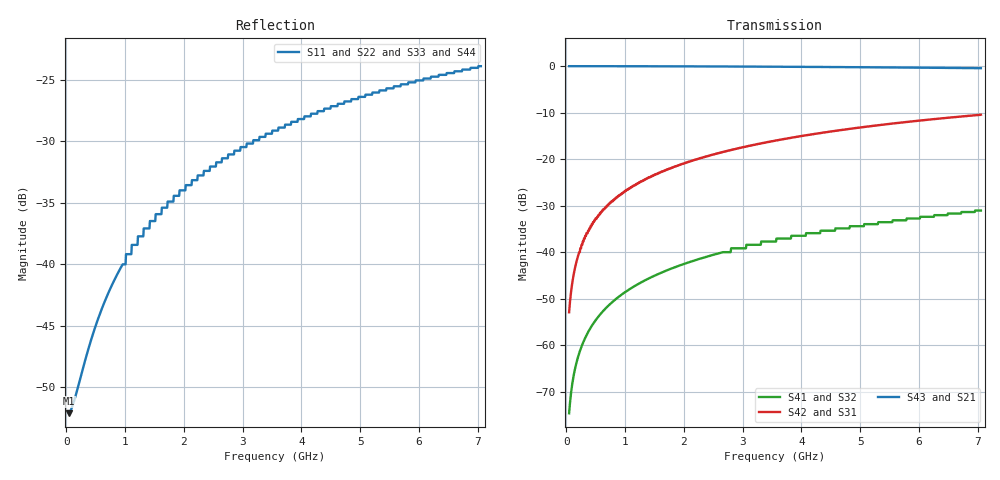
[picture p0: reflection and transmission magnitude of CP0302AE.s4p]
# MHZ S MA R 50
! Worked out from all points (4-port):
!   1000 points, 50 MHz to 7.05 GHz, reference 50 ohm
!   strongest paths, dB at 50 MHz, 1.802 GHz, 3.554 GHz, 5.305 GHz, 7.05 GHz:
!     S43: 0.0, -0.1, -0.1, -0.3, -0.5
!     S21: 0.0, -0.1, -0.1, -0.3, -0.5
!     S42: -52.9, -21.8, -16.0, -12.7, -10.5
!     S31: -52.9, -21.8, -16.0, -12.7, -10.5
!     S41: -74.6, -43.5, -37.7, -33.6, -31.1
!     S32: -74.6, -43.5, -37.7, -33.6, -31.1
!   lowest |S11| = -52.1 dB at 50 MHz (marker M1), VSWR 1.00, Z = 50.2 + j0.0501 ohm
!   |S11| at or under -10 dB: start of sweep to end of sweep
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50  0.002477 11.6  0.998 -0.1  0.002259 89.8  0.0001852 -90.4
    0.998 -0.1  0.002477 11.6  0.0001852 -90.4  0.002259 89.8
    0.002259 89.8  0.0001852 -90.4  0.002477 11.6  0.998 -0.1
    0.0001852 -90.4  0.002259 89.8  0.998 -0.1  0.002477 11.6
204.154  0.003186 39.7  0.998 -0.6  0.009222 89.4  0.0007562 -92.0
         0.998 -0.6  0.003186 39.7  0.0007562 -92.0  0.009222 89.4
         0.009222 89.4  0.0007562 -92.0  0.003186 39.7  0.998 -0.6
         0.0007562 -92.0  0.009222 89.4  0.998 -0.6  0.003186 39.7
470.42  0.005344 61.2  0.997 -1.4  0.021 88.6  0.001743 -94.7
        0.997 -1.4  0.005344 61.2  0.001743 -94.7  0.021 88.6
        0.021 88.6  0.001743 -94.7  0.005344 61.2  0.997 -1.4
        0.001743 -94.7  0.021 88.6  0.997 -1.4  0.005344 61.2
883.834  0.00926 71.4  0.997 -2.6  0.04 87.3  0.003278 -98.8
         0.997 -2.6  0.00926 71.4  0.003278 -98.8  0.04 87.3
         0.04 87.3  0.003278 -98.8  0.00926 71.4  0.997 -2.6
         0.003278 -98.8  0.04 87.3  0.997 -2.6  0.00926 71.4
1493.443  0.015 75.1  0.995 -4.4  0.067 85.5  0.005553 -104.8
          0.995 -4.4  0.015 75.1  0.005553 -104.8  0.067 85.5
          0.067 85.5  0.005553 -104.8  0.015 75.1  0.995 -4.4
          0.005553 -104.8  0.067 85.5  0.995 -4.4  0.015 75.1
3350.3  0.033 72.9  0.986 -9.8  0.149 80.0  0.013 -122.7
        0.986 -9.8  0.033 72.9  0.013 -122.7  0.149 80.0
        0.149 80.0  0.013 -122.7  0.033 72.9  0.986 -9.8
        0.013 -122.7  0.149 80.0  0.986 -9.8  0.033 72.9
7050  0.064 62.1  0.949 -20.1  0.3 69.7  0.028 -155.1
      0.949 -20.1  0.064 62.1  0.028 -155.1  0.3 69.7
      0.3 69.7  0.028 -155.1  0.064 62.1  0.949 -20.1
      0.028 -155.1  0.3 69.7  0.949 -20.1  0.064 62.1
